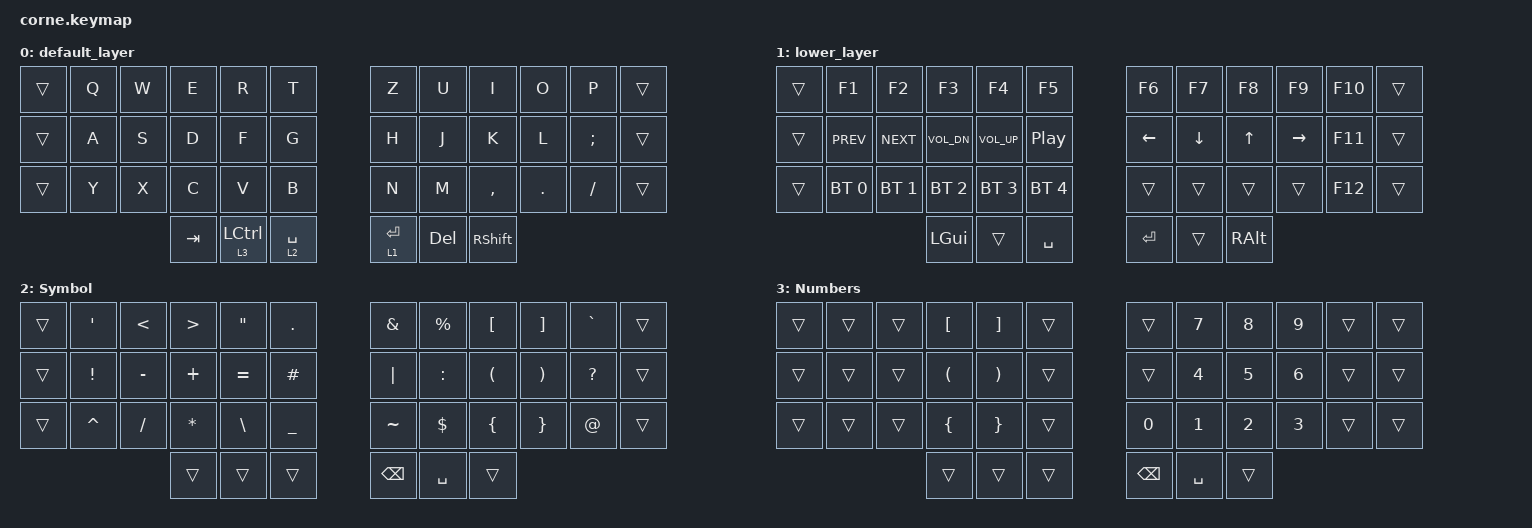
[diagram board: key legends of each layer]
/*
 * Copyright (c) 2020 The ZMK Contributors
 *
 * SPDX-License-Identifier: MIT
 */

#include <behaviors.dtsi>
#include <dt-bindings/zmk/bt.h>
#include <dt-bindings/zmk/keys.h>

/ {
    behaviors {
        bhm: balanced_homerow_mods {
            compatible = "zmk,behavior-hold-tap";
            label = "HOMEROW_MODS";
            #binding-cells = <2>;
            tapping-term-ms = <150>;    // <---[[moderate duration]]
            quick-tap-ms = <0>;
            flavor = "balanced";
            bindings = <&kp>, <&kp>;
        };
    };

    keymap {
        compatible = "zmk,keymap";

        default_layer {
            // -----------------------------------------------------------------------------------------
            // |  TAB |  Q  |  W  |  E  |  R  |  T  |   |  Y  |  U   |  I  |  O  |  P  | BKSP |
            // | CTRL |  A  |  S  |  D  |  F  |  G  |   |  H  |  J   |  K  |  L  |  ;  |  '   |
            // | SHFT |  Z  |  X  |  C  |  V  |  B  |   |  N  |  M   |  ,  |  .  |  /  | ESC  |
            //                    | GUI | LWR | SPC |   | ENT | RSE  | ALT |

            bindings = <
&trans  &kp Q  &kp W  &kp E    &kp R        &kp T          &kp Z      &kp U       &kp I            &kp O    &kp P     &trans
&trans  &kp A  &kp S  &kp D    &kp F        &kp G          &kp H      &kp J       &kp K            &kp L    &kp SEMI  &trans
&trans  &kp Y  &kp X  &kp C    &kp V        &kp B          &kp N      &kp M       &kp COMMA        &kp DOT  &kp FSLH  &trans
                      &kp TAB  &lt 3 LCTRL  &lt 2 SPACE    &lt 1 RET  &kp DELETE  &kp RIGHT_SHIFT
            >;
        };

        lower_layer {
            // -----------------------------------------------------------------------------------------
            // |  TAB |  1  |  2  |  3  |  4  |  5  |   |  6  |  7  |  8  |  9  |  0  | BKSP |
            // | BTCLR| BT1 | BT2 | BT3 | BT4 | BT5 |   | LFT | DWN |  UP | RGT |     |      |
            // | SHFT |     |     |     |     |     |   |     |     |     |     |     |      |
            //                    | GUI |     | SPC |   | ENT |     | ALT |

            bindings = <
&trans  &kp F1        &kp F2        &kp F3        &kp F4        &kp F5          &kp F6    &kp F7    &kp F8    &kp F9     &kp F10  &trans
&trans  &kp C_PREV    &kp C_NEXT    &kp C_VOL_DN  &kp C_VOL_UP  &kp C_PP        &kp LEFT  &kp DOWN  &kp UP    &kp RIGHT  &kp F11  &trans
&trans  &bt BT_SEL 0  &bt BT_SEL 1  &bt BT_SEL 2  &bt BT_SEL 3  &bt BT_SEL 4    &trans    &trans    &trans    &trans     &kp F12  &trans
                                    &kp LGUI      &trans        &kp SPACE       &kp RET   &trans    &kp RALT
            >;
        };

        Symbol {
            // -----------------------------------------------------------------------------------------
            // |  TAB |  !  |  @  |  #  |  $  |  %  |   |  ^  |  &  |  *  |  (  |  )  | BKSP |
            // | CTRL |     |     |     |     |     |   |  -  |  =  |  [  |  ]  |  \  |  `   |
            // | SHFT |     |     |     |     |     |   |  _  |  +  |  {  |  }  | "|" |  ~   |
            //                    | GUI |     | SPC |   | ENT |     | ALT |

            bindings = <
&trans  &kp SINGLE_QUOTE  &kp LESS_THAN  &kp GREATER_THAN  &kp DOUBLE_QUOTES  &kp PERIOD    &kp AMPS       &kp PERCENT  &kp LEFT_BRACKET  &kp RIGHT_BRACKET      &kp GRAVE     &trans
&trans  &kp EXCL          &kp MINUS      &kp PLUS          &kp EQUAL          &kp HASH      &kp PIPE       &kp COLON    &kp LPAR          &kp RIGHT_PARENTHESIS  &kp QUESTION  &trans
&trans  &kp CARET         &kp SLASH      &kp STAR          &kp BACKSLASH      &kp UNDER     &kp TILDE      &kp DOLLAR   &kp LEFT_BRACE    &kp RBRC               &kp AT        &trans
                                         &trans            &trans             &trans        &kp BACKSPACE  &kp SPACE    &trans
            >;
        };

        Numbers {
            bindings = <
&trans  &trans  &trans  &kp LBKT  &kp RIGHT_BRACKET  &trans    &trans    &kp N7     &kp N8  &kp N9  &trans  &trans
&trans  &trans  &trans  &kp LPAR  &kp RPAR           &trans    &trans    &kp N4     &kp N5  &kp N6  &trans  &trans
&trans  &trans  &trans  &kp LBRC  &kp RBRC           &trans    &kp N0    &kp N1     &kp N2  &kp N3  &trans  &trans
                        &trans    &trans             &trans    &kp BSPC  &kp SPACE  &trans
            >;
        };
    };
};
